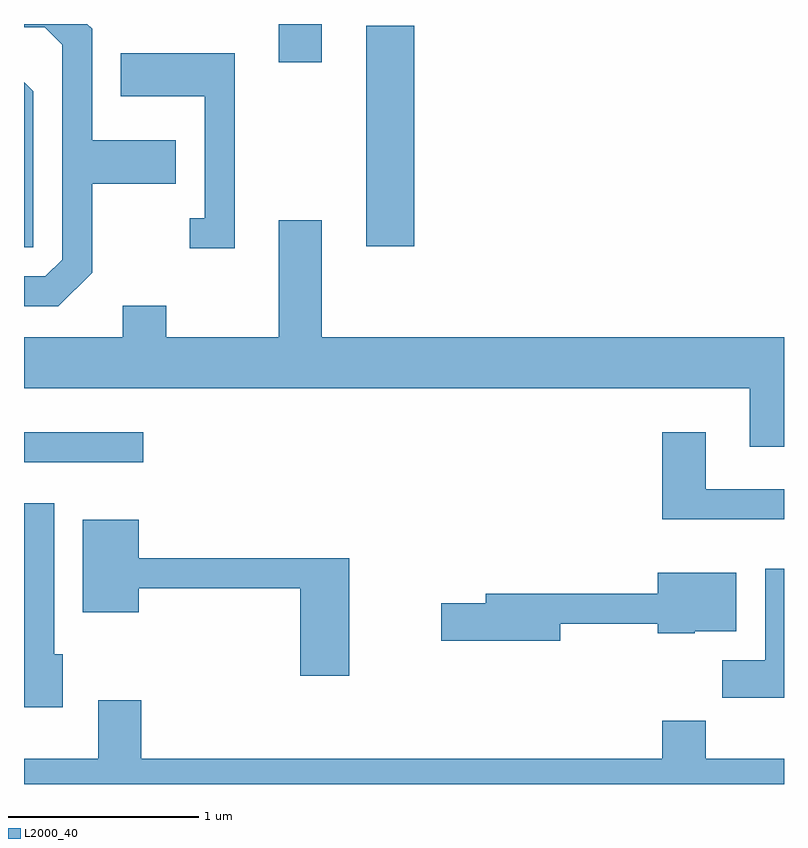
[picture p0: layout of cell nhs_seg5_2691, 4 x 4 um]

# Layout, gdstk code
import gdstk
lib = gdstk.Library(unit=1e-6, precision=1e-09)
def R(c, l, rs):  # rectangles x0, y0, x1, y1
    for r in rs: c.add(gdstk.rectangle(r[:2], r[2:], *l))
def P(c, l, *ps):  # polygons
    for p in ps: c.add(gdstk.Polygon(p, *l))
L2000_40 = (2000, 40)

nhs_seg5_2691 = lib.new_cell('nhs_seg5_2691')
R(nhs_seg5_2691, L2000_40, [(265.611,1429.766,266.238,1429.924), (267.411,1430.901,267.664,1432.064), (266.951,1431.871,267.179,1432.072)])
P(nhs_seg5_2691, L2000_40, [(265.969,1430.764),(265.969,1431.231),(266.409,1431.231),(266.409,1431.459),(265.969,1431.459),(265.969,1432.047),(265.944,1432.072),(265.611,1432.072),(265.611,1432.056),(265.719,1432.056),(265.811,1431.964),(265.811,1430.832),(265.724,1430.744),(265.611,1430.744),(265.611,1430.586),(265.792,1430.586)],
  [(266.719,1431.919),(266.121,1431.919),(266.121,1431.691),(266.561,1431.691),(266.561,1431.049),(266.483,1431.049),(266.483,1430.891),(266.719,1430.891)],
  [(265.659,1431.717),(265.611,1431.765),(265.611,1430.896),(265.659,1430.896)],
  [(269.611,1430.424),(267.179,1430.424),(267.179,1431.039),(266.951,1431.039),(266.951,1430.424),(266.359,1430.424),(266.359,1430.589),(266.131,1430.589),(266.131,1430.424),(265.611,1430.424),(265.611,1430.156),(269.431,1430.156),(269.431,1429.846),(269.611,1429.846)],
  [(269.611,1429.624),(269.199,1429.624),(269.199,1429.924),(268.971,1429.924),(268.971,1429.466),(269.611,1429.466)],
  [(265.814,1428.754),(265.769,1428.754),(265.769,1429.549),(265.611,1429.549),(265.611,1428.476),(265.814,1428.476)],
  [(267.324,1429.259),(266.214,1429.259),(266.214,1429.464),(265.921,1429.464),(265.921,1428.976),(266.214,1428.976),(266.214,1429.101),(267.066,1429.101),(267.066,1428.641),(267.324,1428.641)],
  [(269.611,1429.204),(269.511,1429.204),(269.511,1428.724),(269.286,1428.724),(269.286,1428.526),(269.611,1428.526)],
  [(268.434,1428.916),(268.946,1428.916),(268.946,1428.866),(269.14,1428.866),(269.14,1428.876),(269.359,1428.876),(269.359,1429.184),(268.946,1429.184),(268.946,1429.074),(268.041,1429.074),(268.041,1429.024),(267.806,1429.024),(267.806,1428.826),(268.434,1428.826)],
  [(269.611,1428.204),(269.199,1428.204),(269.199,1428.404),(268.971,1428.404),(268.971,1428.204),(266.229,1428.204),(266.229,1428.514),(266.001,1428.514),(266.001,1428.204),(265.611,1428.204),(265.611,1428.072),(269.611,1428.072)])

lib.write_gds('nhs_seg5_2691.gds')
